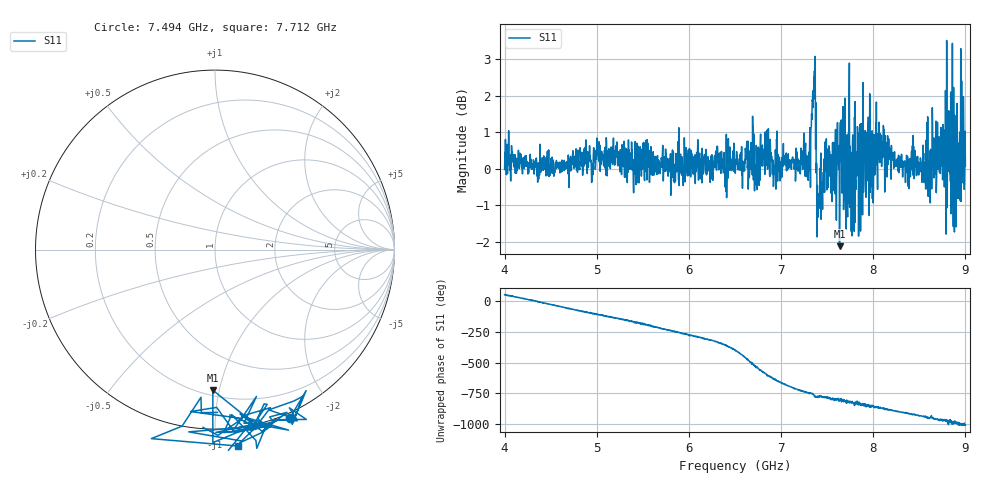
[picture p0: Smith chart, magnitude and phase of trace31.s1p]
! Created with skrf 1.8.0 (http://scikit-rf.org).
# Hz S RI R 50.0
!freq ReS11 ImS11
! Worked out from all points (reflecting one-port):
!   1601 points, 4 GHz to 9 GHz, reference 50 ohm
!   lowest |S11| = -2.1 dB at 7.634 GHz (marker M1), VSWR 8.23, Z = 11.8 - j47.8 ohm
!   phase of S11 starts at 50 deg and turns -1057 deg over the sweep
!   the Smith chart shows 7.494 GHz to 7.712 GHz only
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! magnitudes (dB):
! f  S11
! 4 GHz  0.0
! 4.625 GHz  -0.1
! 5.25 GHz  -0.1
! 5.875 GHz  0.1
! 6.5 GHz  0.2
! 7.125 GHz  0.3
! 7.294 GHz  -0.3
! 7.353 GHz  1.9
! 7.4 GHz  -0.8
! 7.416 GHz  -1.1
! 7.5 GHz  0.5
! 7.634 GHz  -2.1
! 7.669 GHz  0.2
! 7.703 GHz  -1.7
! 7.716 GHz  0.0
! 7.75 GHz  0.1
! 7.788 GHz  -0.4
! 7.891 GHz  0.7
! 7.981 GHz  -0.5
! 8.097 GHz  0.4
! 8.375 GHz  0.0
! 8.612 GHz  0.0
! 8.647 GHz  0.0
! 8.769 GHz  0.8
! 8.822 GHz  1.0
! 8.869 GHz  -1.6
! 8.956 GHz  -0.1
! 9 GHz  0.1
